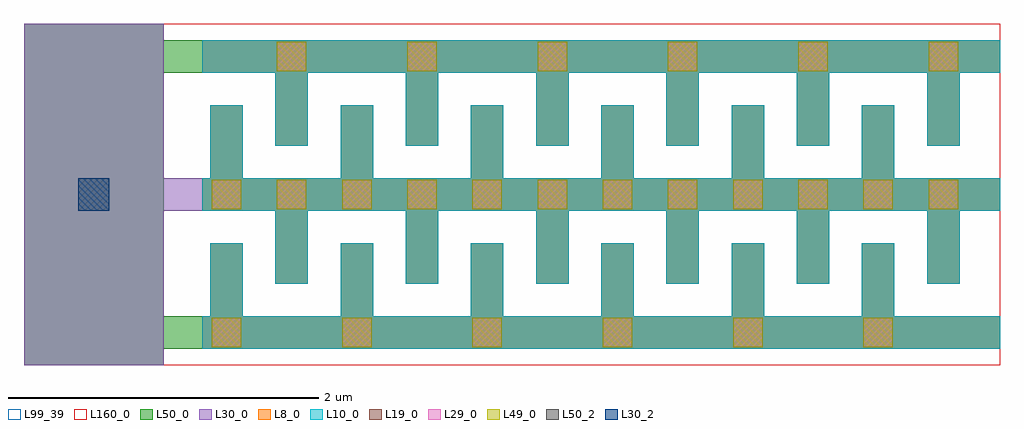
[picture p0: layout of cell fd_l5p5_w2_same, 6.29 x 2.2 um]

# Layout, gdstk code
import gdstk
lib = gdstk.Library(unit=1e-6, precision=1e-09)
def R(c, l, rs):  # rectangles x0, y0, x1, y1
    for r in rs: c.add(gdstk.rectangle(r[:2], r[2:], *l))
def A(c, l, x, y, w, h, nx, ny, dx, dy):  # array of equal rectangles
    R(c, l, [(x+i*dx, y+j*dy, x+i*dx+w, y+j*dy+h) for i in range(nx) for j in range(ny)])
L8_0 = (8, 0)
L10_0 = (10, 0)
L19_0 = (19, 0)
L29_0 = (29, 0)
L30_0 = (30, 0)
L30_2 = (30, 2)
L49_0 = (49, 0)
L50_0 = (50, 0)
L50_2 = (50, 2)
L99_39 = (99, 39)
L160_0 = (160, 0)

fd_l5p5_w2_same = lib.new_cell('fd_l5p5_w2_same')
A(fd_l5p5_w2_same, L8_0, -0.05, -0.105, 5.14, 0.21, 1, 3, 0, 0.89)
A(fd_l5p5_w2_same, L8_0, 0, 0, 0.21, 0.575, 6, 2, 0.84, 0.89)
A(fd_l5p5_w2_same, L8_0, 0.42, 0.315, 0.21, 0.575, 6, 2, 0.84, 0.89)
A(fd_l5p5_w2_same, L10_0, -0.05, -0.105, 5.14, 0.21, 1, 3, 0, 0.89)
A(fd_l5p5_w2_same, L10_0, 0, 0, 0.21, 0.575, 6, 2, 0.84, 0.89)
A(fd_l5p5_w2_same, L10_0, 0.42, 0.315, 0.21, 0.575, 6, 2, 0.84, 0.89)
A(fd_l5p5_w2_same, L19_0, 0.01, -0.095, 0.19, 0.19, 6, 1, 0.84, 0)
A(fd_l5p5_w2_same, L19_0, 0.01, 0.795, 0.19, 0.19, 12, 1, 0.42, 0)
A(fd_l5p5_w2_same, L19_0, 0.43, 1.685, 0.19, 0.19, 6, 1, 0.84, 0)
A(fd_l5p5_w2_same, L29_0, 0.01, -0.095, 0.19, 0.19, 6, 1, 0.84, 0)
A(fd_l5p5_w2_same, L29_0, 0.01, 0.795, 0.19, 0.19, 12, 1, 0.42, 0)
A(fd_l5p5_w2_same, L29_0, 0.43, 1.685, 0.19, 0.19, 6, 1, 0.84, 0)
A(fd_l5p5_w2_same, L30_0, 0, 0, 0.21, 0.575, 6, 2, 0.84, 0.89)
A(fd_l5p5_w2_same, L30_0, 0.42, 0.315, 0.21, 0.575, 6, 2, 0.84, 0.89)
R(fd_l5p5_w2_same, L30_0, [(-1.2,-0.21,-0.3,1.99), (-0.05,-0.105,5.09,0.105), (-1.2,0.785,5.09,0.995), (-0.05,1.675,5.09,1.885)])
R(fd_l5p5_w2_same, L30_2, [(-0.85,0.785,-0.65,0.995)])
A(fd_l5p5_w2_same, L49_0, 0.01, -0.095, 0.19, 0.19, 6, 1, 0.84, 0)
A(fd_l5p5_w2_same, L49_0, 0.01, 0.795, 0.19, 0.19, 12, 1, 0.42, 0)
A(fd_l5p5_w2_same, L49_0, 0.43, 1.685, 0.19, 0.19, 6, 1, 0.84, 0)
A(fd_l5p5_w2_same, L50_0, 0, 0, 0.21, 0.575, 6, 2, 0.84, 0.89)
A(fd_l5p5_w2_same, L50_0, 0.42, 0.315, 0.21, 0.575, 6, 2, 0.84, 0.89)
R(fd_l5p5_w2_same, L50_0, [(-1.2,-0.21,-0.3,1.99), (-1.2,-0.105,5.09,0.105), (-0.05,0.785,5.09,0.995), (-1.2,1.675,5.09,1.885)])
R(fd_l5p5_w2_same, L50_2, [(-0.85,0.785,-0.65,0.995)])
R(fd_l5p5_w2_same, L99_39, [(-1.2,-0.21,5.09,1.99)])
R(fd_l5p5_w2_same, L160_0, [(-1.2,-0.21,5.09,1.99)])
fd_l5p5_w2_same.add(gdstk.Label('cap_cmomi C=11.737fF', (-1.2,-0.71), layer=63, texttype=0))

lib.write_gds('fd_l5p5_w2_same.gds')
